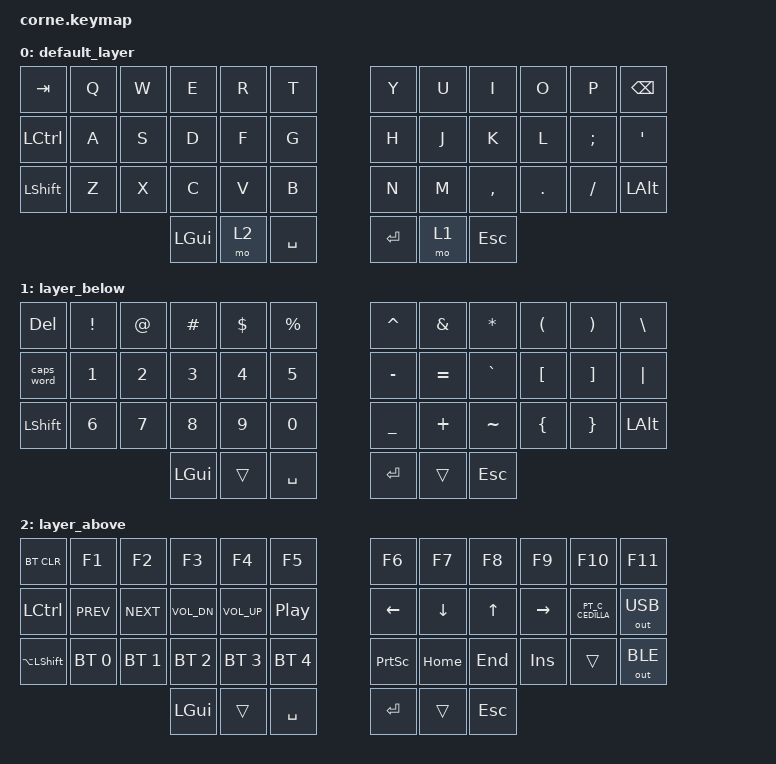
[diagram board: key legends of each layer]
/*
 * Copyright (c) 2020 The ZMK Contributors
 *
 * SPDX-License-Identifier: MIT
 */

#include <behaviors.dtsi>
#include <dt-bindings/zmk/bt.h>
#include <dt-bindings/zmk/keys.h>
#include <dt-bindings/zmk/outputs.h>
#include "keys_pt_abnt2.h"

/ {
    macros {
        cedilha_macro: cedilha_macro {
            compatible = "zmk,behavior-macro";
            label = "CEDILLA_MACRO";
            #binding-cells = <0>;
            bindings = <&macro_tap>, <&kp RA(COMMA) &kp C>;
        };
    };

    behaviors {
        cedilha: cedilha {
            compatible = "zmk,behavior-macro";
            label = "CEDILLA";
            #binding-cells = <0>;
            bindings = <&cedilha_macro>;
        };
    };

    keymap {
        compatible = "zmk,keymap";

        default_layer {
            // -----------------------------------------------------------------------------------------
            // | TAB  |  Q  |  W  |  E  |  R  |    T    |   |  Y  |  U   |  I  |  O  |  P  | ESC |
            // | CTRL |  A  |  S  |  D  |  F  |    G    |   |  H  |  J   |  K  |  L  |  ;  |  '   |
            // | SHFT |  Z  |  X  |  C  |  V  |    B    |   |  N  |  M   |  ,  |  .  |  /  | SHFT |
            //                    | GUI | LWR | ALT/ENT |   | HYPER/SPC | BKSP  | RSE |

            bindings = <
&kp TAB    &kp Q  &kp W  &kp E     &kp R  &kp T        &kp Y      &kp U  &kp I       &kp O    &kp P     &kp BACKSPACE
&kp LCTRL  &kp A  &kp S  &kp D     &kp F  &kp G        &kp H      &kp J  &kp K       &kp L    &kp SEMI  &kp SQT
&kp LSHFT  &kp Z  &kp X  &kp C     &kp V  &kp B        &kp N      &kp M  &kp COMMA   &kp DOT  &kp FSLH  &kp LEFT_ALT
                         &kp LGUI  &mo 2  &kp SPACE    &kp ENTER  &mo 1  &kp ESCAPE
            >;
        };

        layer_below {
            // -----------------------------------------------------------------------------------------
            // |      |  !  |  @  |  #  |  $  |    %     |   |  ^  |  &  |  *  |  (  |  )  |   \   |
            // |      |  1  |  2  |  3  |  4  |    5     |   |  -  |  =  |  `  |  [  |  ]  |  "|"  |
            // | SHFT |  6  |  7  |  8  |  9  |    0     |   |  _  |  +  |  ~  |  {  |  }  | RSHFT |
            //                     | GUI |     | ALT/ENT |   | HYPER/SPACE | BKSP |    |

            bindings = <
&kp DELETE  &kp EXCL  &kp AT  &kp HASH  &kp DLLR  &kp PRCNT    &kp CARET  &kp AMPS   &kp ASTERISK  &kp LPAR  &kp RPAR  &kp BSLH
&caps_word  &kp N1    &kp N2  &kp N3    &kp N4    &kp N5       &kp MINUS  &kp EQUAL  &kp GRAVE     &kp LBKT  &kp RBKT  &kp PIPE
&kp LSHFT   &kp N6    &kp N7  &kp N8    &kp N9    &kp N0       &kp UNDER  &kp PLUS   &kp TILDE     &kp LBRC  &kp RBRC  &kp LALT
                              &kp LGUI  &trans    &kp SPACE    &kp ENTER  &trans     &kp ESCAPE
            >;
        };

        layer_above {
            // -----------------------------------------------------------------------------------------
            // |       |  F1  |  F2  |  F3  |  F4  |  F5 |            |  F6  |  F7  |  F8  |  F9  |  F10  |   |
            // |       | Prev | Next | Vol - | Vol + | Play/Pause |   |      | LFT | DWN |  UP | RGT |     |     |
            // | BTCLR | BT1 | BT2 | BT3 | BT4 | BT5 |   |            |     |     |     |     |     |     |
            //                    |     |     |    |                  |     |     |     |

            bindings = <
&bt BT_CLR          &kp F1        &kp F2        &kp F3        &kp F4        &kp F5          &kp F6           &kp F7    &kp F8      &kp F9      &kp F10           &kp F11
&kp LCTRL           &kp C_PREV    &kp C_NEXT    &kp C_VOL_DN  &kp C_VOL_UP  &kp C_PP        &kp LEFT         &kp DOWN  &kp UP      &kp RIGHT   &kp PT_C_CEDILLA  &out OUT_USB
&kp LA(LEFT_SHIFT)  &bt BT_SEL 0  &bt BT_SEL 1  &bt BT_SEL 2  &bt BT_SEL 3  &bt BT_SEL 4    &kp PRINTSCREEN  &kp HOME  &kp END     &kp INSERT  &trans            &out OUT_BLE
                                                &kp LGUI      &trans        &kp SPACE       &kp ENTER        &trans    &kp ESCAPE
            >;
        };
    };
};
